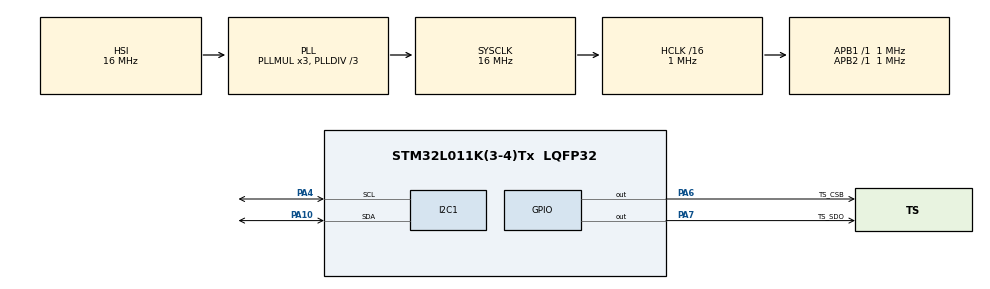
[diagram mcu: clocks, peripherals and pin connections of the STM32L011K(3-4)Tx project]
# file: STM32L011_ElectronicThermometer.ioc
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I2C1.Timing=0x00000103
Mcu.Family=STM32L0
Mcu.Name=STM32L011K(3-4)Tx
Mcu.Package=LQFP32
NVIC.RTC_IRQn=true\:0\:0\:false\:false\:true\:true\:true\:true
PA10.Mode=I2C
PA10.Signal=I2C1_SDA
PA13.Mode=Serial_Wire
PA13.Signal=SYS_SWDIO
PA14.Mode=Serial_Wire
PA14.Signal=SYS_SWCLK
PA4.Mode=I2C
PA4.Signal=I2C1_SCL
PA6.GPIO_Label=TS_CSB
PA6.GPIO_PuPd=GPIO_PULLUP
PA6.PinState=GPIO_PIN_SET
PA6.Signal=GPIO_Output
PA7.GPIO_Label=TS_SDO
PA7.GPIO_PuPd=GPIO_PULLUP
PA7.PinState=GPIO_PIN_SET
PA7.Signal=GPIO_Output
ProjectManager.HeapSize=0x100
ProjectManager.StackSize=0x200
ProjectManager.TargetToolchain=STM32CubeIDE
RCC.AHBCLKDivider=RCC_SYSCLK_DIV16
RCC.AHBFreq_Value=1000000
RCC.APB1Freq_Value=1000000
RCC.APB1TimFreq_Value=1000000
RCC.APB2Freq_Value=1000000
RCC.APB2TimFreq_Value=1000000
RCC.HCLKFreq_Value=1000000
RCC.HSE_VALUE=8000000
RCC.HSI16_VALUE=16000000
RCC.HSI_VALUE=16000000
RCC.LSE_VALUE=32768
RCC.MSI_VALUE=2097000
RCC.PLLDIV=RCC_PLLDIV_3
RCC.SYSCLKFreq_VALUE=16000000
RCC.SYSCLKSource=RCC_SYSCLKSOURCE_PLLCLK
RCC.VCOOutputFreq_Value=48000000
RTC.Alarm-Alarm\ A=RTC_ALARM_A
VP_RTC_VS_RTC_Activate.Mode=RTC_Enabled
VP_RTC_VS_RTC_Alarm_A_Intern.Mode=Alarm A
VP_RTC_VS_RTC_Calendar.Mode=RTC_Calendar
VP_SYS_VS_LPOM.Mode=PowerOptimisation
board=custom

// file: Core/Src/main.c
/* USER CODE BEGIN Header */
/**
  ******************************************************************************
  * @file           : main.c
  * @brief          : Main program body
  ******************************************************************************
  * @attention
  *
  * Copyright (c) 2025 STMicroelectronics.
  * All rights reserved.
  *
  * This software is licensed under terms that can be found in the LICENSE file
  * in the root directory of this software component.
  * If no LICENSE file comes with this software, it is provided AS-IS.
  *
  ******************************************************************************
  */
/* USER CODE END Header */
#include "main.h"

/* USER CODE BEGIN Includes */

#include "bme280.h"
#include "oled.h"

/* USER CODE END Includes */

I2C_HandleTypeDef hi2c1;

RTC_HandleTypeDef hrtc;

void SystemClock_Config(void);
static void MX_GPIO_Init(void);
static void MX_I2C1_Init(void);
static void MX_RTC_Init(void);

/* USER CODE BEGIN 0 */

void print_sensor_values(int16_t temp_i, int16_t temp_f,
                              int16_t hum_i,  int16_t hum_f,
                              int16_t press_i, int16_t press_f) {
    char line[22];
    uint8_t idx;

    idx = 0;
    if (temp_i < 0) { line[idx++] = '-'; temp_i = -temp_i; }
    if (temp_i >= 100) line[idx++] = '0' + (temp_i / 100);
    if (temp_i >= 10)  line[idx++] = '0' + ((temp_i / 10) % 10);
    line[idx++] = '0' + (temp_i % 10);
    line[idx++] = '.';
    line[idx++] = '0' + (temp_f / 10);
    line[idx++] = '0' + (temp_f % 10);
    line[idx++] = '\x60';
    line[idx++] = 'C';
    line[idx] = '\0';
    oled_print(0, 0, line);

    idx = 0;
    if (hum_i >= 100) line[idx++] = '0' + (hum_i / 100);
    if (hum_i >= 10)  line[idx++] = '0' + ((hum_i / 10) % 10);
    line[idx++] = '0' + (hum_i % 10);
    line[idx++] = '.';
    line[idx++] = '0' + (hum_f / 10);
    line[idx++] = '0' + (hum_f % 10);
    line[idx++] = '%';
    line[idx++] = 'R';
    line[idx] = '\0';
    oled_print(0, 1, line);

    idx = 0;
    if (press_i >= 1000) line[idx++] = '0' + (press_i / 1000);
    if (press_i >= 100)  line[idx++] = '0' + ((press_i / 100) % 10);
    if (press_i >= 10)   line[idx++] = '0' + ((press_i / 10) % 10);
    line[idx++] = '0' + (press_i % 10);
    line[idx++] = '.';
    line[idx++] = '0' + (press_f / 10);
    line[idx++] = '0' + (press_f % 10);
    line[idx++] = 'h';
    line[idx++] = 'P';
    line[idx++] = 'a';
    line[idx] = '\0';
    oled_print(0, 2, line);
}

void Set_Alarm_A_After_10_Minutes(void)
{
  RTC_TimeTypeDef sTime;
  RTC_DateTypeDef sDate;
  RTC_AlarmTypeDef sAlarm;

  // Pobierz aktualny czas
  HAL_RTC_GetTime(&hrtc, &sTime, RTC_FORMAT_BIN);
  HAL_RTC_GetDate(&hrtc, &sDate, RTC_FORMAT_BIN);

  uint8_t new_seconds = (sTime.Seconds + 1) % 60;
  uint8_t new_minutes = (sTime.Minutes + 10) % 60;
  uint8_t new_hours = sTime.Hours + (new_minutes / 60);
  new_minutes = new_minutes % 60;
  new_hours = new_hours % 24;

  sAlarm.AlarmTime.Hours = new_hours;
  sAlarm.AlarmTime.Minutes = new_minutes;
  sAlarm.AlarmTime.Seconds = new_seconds;
  sAlarm.AlarmTime.SubSeconds = 0;
  sAlarm.AlarmTime.TimeFormat = RTC_HOURFORMAT12_AM;
  sAlarm.AlarmMask = RTC_ALARMMASK_NONE;
  sAlarm.AlarmSubSecondMask = RTC_ALARMSUBSECONDMASK_ALL;
  sAlarm.AlarmDateWeekDaySel = RTC_ALARMDATEWEEKDAYSEL_DATE;
  sAlarm.AlarmDateWeekDay = 1;
  sAlarm.Alarm = RTC_ALARM_A;

  HAL_RTC_SetAlarm_IT(&hrtc, &sAlarm, RTC_FORMAT_BIN);
}

void perform_actions()
{
	BME280_read_data(&hi2c1);

    oled_clear();

    print_sensor_values(
        BME280_get_temperature_integer(),
        BME280_get_temperature_fraction(),
        BME280_get_humidity_integer(),
        BME280_get_humidity_fraction(),
        BME280_get_pressure_integer(),
        BME280_get_pressure_fraction()
    );

    oled_display();

    Set_Alarm_A_After_10_Minutes();
}
// Callback od przerwania alarmu
void HAL_RTC_AlarmAEventCallback(RTC_HandleTypeDef *hrtc)
{

    perform_actions();

}

/* USER CODE END 0 */

int main(void)
{

  /* MCU Configuration--------------------------------------------------------*/

  /* Reset of all peripherals, Initializes the Flash interface and the Systick. */
  HAL_Init();

  /* Configure the system clock */
  SystemClock_Config();

  /* Initialize all configured peripherals */
  MX_GPIO_Init();
  MX_I2C1_Init();
  MX_RTC_Init();
  /* USER CODE BEGIN 2 */

  BME280_init(&hi2c1);
  oled_init();
  oled_clear();

  perform_actions();

  /* USER CODE END 2 */

  /* Infinite loop */
  /* USER CODE BEGIN WHILE */
  while (1)
  {
	  // Odblokuj dostęp do rejestrów PWR
	  PWR->CR |= PWR_CR_DBP;

	  // Ustaw Standby mode
	  PWR->CR |= PWR_CR_PDDS;

	  // Wyczyść flagi Wakeup i Standby
	  PWR->CR |= PWR_CR_CWUF | PWR_CR_CSBF;

	  // Zezwól na Wakeup od RTC (zakładam, że RTC już ustawiony)
	  PWR->CSR |= PWR_CSR_EWUP1; // lub inny odpowiedni EWUPx jeśli używasz WakeUpPin

	  // Włącz ultra-low-power mode (opcjonalnie, jeszcze głębsze oszczędzanie)
	  PWR->CR |= PWR_CR_ULP; // Ultra Low Power

	  // Wprowadź układ w tryb Standby
	  SCB->SCR |= SCB_SCR_SLEEPDEEP_Msk; // Głębokie uśpienie
	  __WFI(); // Czekaj na przerwanie (tu przechodzi w Standby)

    /* USER CODE END WHILE */

  }
}

void SystemClock_Config(void)
{
  RCC_OscInitTypeDef RCC_OscInitStruct = {0};
  RCC_ClkInitTypeDef RCC_ClkInitStruct = {0};
  RCC_PeriphCLKInitTypeDef PeriphClkInit = {0};

  /** Configure the main internal regulator output voltage
  */
  __HAL_PWR_VOLTAGESCALING_CONFIG(PWR_REGULATOR_VOLTAGE_SCALE1);

  /** Initializes the RCC Oscillators according to the specified parameters
  * in the RCC_OscInitTypeDef structure.
  */
  RCC_OscInitStruct.OscillatorType = RCC_OSCILLATORTYPE_HSI|RCC_OSCILLATORTYPE_LSI;
  RCC_OscInitStruct.HSIState = RCC_HSI_ON;
  RCC_OscInitStruct.HSICalibrationValue = RCC_HSICALIBRATION_DEFAULT;
  RCC_OscInitStruct.LSIState = RCC_LSI_ON;
  RCC_OscInitStruct.PLL.PLLState = RCC_PLL_ON;
  RCC_OscInitStruct.PLL.PLLSource = RCC_PLLSOURCE_HSI;
  RCC_OscInitStruct.PLL.PLLMUL = RCC_PLLMUL_3;
  RCC_OscInitStruct.PLL.PLLDIV = RCC_PLLDIV_3;
  if (HAL_RCC_OscConfig(&RCC_OscInitStruct) != HAL_OK)
  {
    Error_Handler();
  }

  /** Initializes the CPU, AHB and APB buses clocks
  */
  RCC_ClkInitStruct.ClockType = RCC_CLOCKTYPE_HCLK|RCC_CLOCKTYPE_SYSCLK
                              |RCC_CLOCKTYPE_PCLK1|RCC_CLOCKTYPE_PCLK2;
  RCC_ClkInitStruct.SYSCLKSource = RCC_SYSCLKSOURCE_PLLCLK;
  RCC_ClkInitStruct.AHBCLKDivider = RCC_SYSCLK_DIV16;
  RCC_ClkInitStruct.APB1CLKDivider = RCC_HCLK_DIV1;
  RCC_ClkInitStruct.APB2CLKDivider = RCC_HCLK_DIV1;

  if (HAL_RCC_ClockConfig(&RCC_ClkInitStruct, FLASH_LATENCY_0) != HAL_OK)
  {
    Error_Handler();
  }
  PeriphClkInit.PeriphClockSelection = RCC_PERIPHCLK_I2C1|RCC_PERIPHCLK_RTC;
  PeriphClkInit.I2c1ClockSelection = RCC_I2C1CLKSOURCE_PCLK1;
  PeriphClkInit.RTCClockSelection = RCC_RTCCLKSOURCE_LSI;
  if (HAL_RCCEx_PeriphCLKConfig(&PeriphClkInit) != HAL_OK)
  {
    Error_Handler();
  }
}

static void MX_I2C1_Init(void)
{

  hi2c1.Instance = I2C1;
  hi2c1.Init.Timing = 0x00000103;
  hi2c1.Init.OwnAddress1 = 0;
  hi2c1.Init.AddressingMode = I2C_ADDRESSINGMODE_7BIT;
  hi2c1.Init.DualAddressMode = I2C_DUALADDRESS_DISABLE;
  hi2c1.Init.OwnAddress2 = 0;
  hi2c1.Init.OwnAddress2Masks = I2C_OA2_NOMASK;
  hi2c1.Init.GeneralCallMode = I2C_GENERALCALL_DISABLE;
  hi2c1.Init.NoStretchMode = I2C_NOSTRETCH_DISABLE;
  if (HAL_I2C_Init(&hi2c1) != HAL_OK)
  {
    Error_Handler();
  }

  /** Configure Analogue filter
  */
  if (HAL_I2CEx_ConfigAnalogFilter(&hi2c1, I2C_ANALOGFILTER_ENABLE) != HAL_OK)
  {
    Error_Handler();
  }

  /** Configure Digital filter
  */
  if (HAL_I2CEx_ConfigDigitalFilter(&hi2c1, 0) != HAL_OK)
  {
    Error_Handler();
  }

}

static void MX_RTC_Init(void)
{

  RTC_TimeTypeDef sTime = {0};
  RTC_DateTypeDef sDate = {0};
  RTC_AlarmTypeDef sAlarm = {0};

  /** Initialize RTC Only
  */
  hrtc.Instance = RTC;
  hrtc.Init.HourFormat = RTC_HOURFORMAT_24;
  hrtc.Init.AsynchPrediv = 127;
  hrtc.Init.SynchPrediv = 255;
  hrtc.Init.OutPut = RTC_OUTPUT_DISABLE;
  hrtc.Init.OutPutRemap = RTC_OUTPUT_REMAP_NONE;
  hrtc.Init.OutPutPolarity = RTC_OUTPUT_POLARITY_HIGH;
  hrtc.Init.OutPutType = RTC_OUTPUT_TYPE_OPENDRAIN;
  if (HAL_RTC_Init(&hrtc) != HAL_OK)
  {
    Error_Handler();
  }

  /** Initialize RTC and set the Time and Date
  */
  sTime.Hours = 0x0;
  sTime.Minutes = 0x0;
  sTime.Seconds = 0x0;
  sTime.DayLightSaving = RTC_DAYLIGHTSAVING_NONE;
  sTime.StoreOperation = RTC_STOREOPERATION_RESET;
  if (HAL_RTC_SetTime(&hrtc, &sTime, RTC_FORMAT_BCD) != HAL_OK)
  {
    Error_Handler();
  }
  sDate.WeekDay = RTC_WEEKDAY_MONDAY;
  sDate.Month = RTC_MONTH_JANUARY;
  sDate.Date = 0x1;
  sDate.Year = 0x0;

  if (HAL_RTC_SetDate(&hrtc, &sDate, RTC_FORMAT_BCD) != HAL_OK)
  {
    Error_Handler();
  }

  /** Enable the Alarm A
  */
  sAlarm.AlarmTime.Hours = 0x0;
  sAlarm.AlarmTime.Minutes = 0x0;
  sAlarm.AlarmTime.Seconds = 0x0;
  sAlarm.AlarmTime.SubSeconds = 0x0;
  sAlarm.AlarmTime.DayLightSaving = RTC_DAYLIGHTSAVING_NONE;
  sAlarm.AlarmTime.StoreOperation = RTC_STOREOPERATION_RESET;
  sAlarm.AlarmMask = RTC_ALARMMASK_NONE;
  sAlarm.AlarmSubSecondMask = RTC_ALARMSUBSECONDMASK_ALL;
  sAlarm.AlarmDateWeekDaySel = RTC_ALARMDATEWEEKDAYSEL_DATE;
  sAlarm.AlarmDateWeekDay = 0x1;
  sAlarm.Alarm = RTC_ALARM_A;
  if (HAL_RTC_SetAlarm_IT(&hrtc, &sAlarm, RTC_FORMAT_BCD) != HAL_OK)
  {
    Error_Handler();
  }

}

static void MX_GPIO_Init(void)
{
  GPIO_InitTypeDef GPIO_InitStruct = {0};

  /* GPIO Ports Clock Enable */
  __HAL_RCC_GPIOA_CLK_ENABLE();

  /*Configure GPIO pin Output Level */
  HAL_GPIO_WritePin(GPIOA, TS_CSB_Pin|TS_SDO_Pin, GPIO_PIN_SET);

  /*Configure GPIO pins : TS_CSB_Pin TS_SDO_Pin */
  GPIO_InitStruct.Pin = TS_CSB_Pin|TS_SDO_Pin;
  GPIO_InitStruct.Mode = GPIO_MODE_OUTPUT_PP;
  GPIO_InitStruct.Pull = GPIO_PULLUP;
  GPIO_InitStruct.Speed = GPIO_SPEED_FREQ_LOW;
  HAL_GPIO_Init(GPIOA, &GPIO_InitStruct);

}

void Error_Handler(void)
{
  __disable_irq();
  while (1)
  {
  }
}
